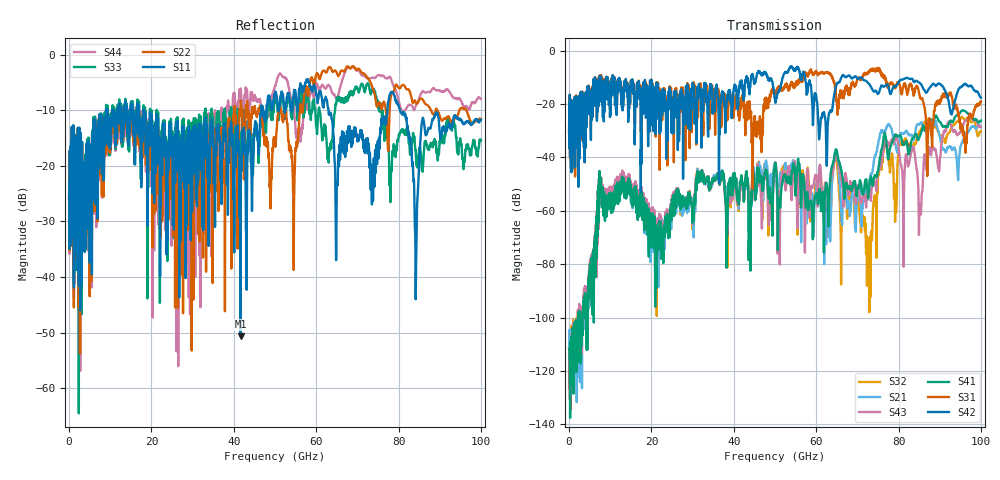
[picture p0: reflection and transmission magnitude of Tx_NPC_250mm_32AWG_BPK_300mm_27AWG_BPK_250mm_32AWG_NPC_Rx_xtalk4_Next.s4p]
! Info: Touchstone file created by Circ.  Input file=Tx_NPC_250mm_32AWG_BPK_300mm_27AWG_BPK_250mm_32AWG_NPC_Rx.circ
# Hz S RI R 50
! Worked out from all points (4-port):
!   10000 points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, 10 MHz to 100 GHz, reference 50 ohm
!   strongest paths, dB at 10 MHz, 25.01 GHz, 50.01 GHz, 75.01 GHz, 100 GHz:
!     S42: -30.6, -19.4, -18.5, -16.3, -17.6
!     S31: -30.5, -19.1, -15.8, -6.9, -19.2
!     S41: -111.6, -56.1, -42.3, -45.6, -26.2
!     S43: -114.7, -54.4, -42.2, -45.1, -28.6
!     S21: -111.5, -57.6, -42.0, -35.4, -28.6
!     S32: -126.5, -55.6, -42.5, -47.5, -30.2
!   lowest |S11| = -50.6 dB at 41.64 GHz (marker M1), VSWR 1.01, Z = 50.2 + j0.177 ohm
!   |S11| at or under -10 dB: 18.11 GHz to 46.68 GHz (28.56 GHz wide, 88.2 % of centre); 63 GHz to 77.29 GHz (14.3 GHz wide, 20.4 % of centre); 80.37 GHz to end of sweep (the widest 3 of 38)
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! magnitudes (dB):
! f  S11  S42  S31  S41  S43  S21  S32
! 10 MHz  -25.9  -30.6  -30.5  -111.6  -114.7  -111.5  -126.5
! 41.64 GHz  -50.6  -12.0  -21.7  -49.1  -50.1  -50.9  -50.8
! 64.69 GHz  -26.8  -14.1  -13.9  -37.3  -38.4  -39.0  -39.7
! 72.77 GHz  -16.2  -12.4  -8.2  -52.4  -52.7  -52.1  -70.9
! 76.75 GHz  -12.1  -13.2  -11.0  -31.2  -34.4  -29.9  -35.4
! 85.33 GHz  -15.2  -12.4  -18.0  -31.5  -61.5  -27.0  -29.9
! 100 GHz  -11.7  -17.6  -19.2  -26.2  -28.6  -28.6  -30.2
